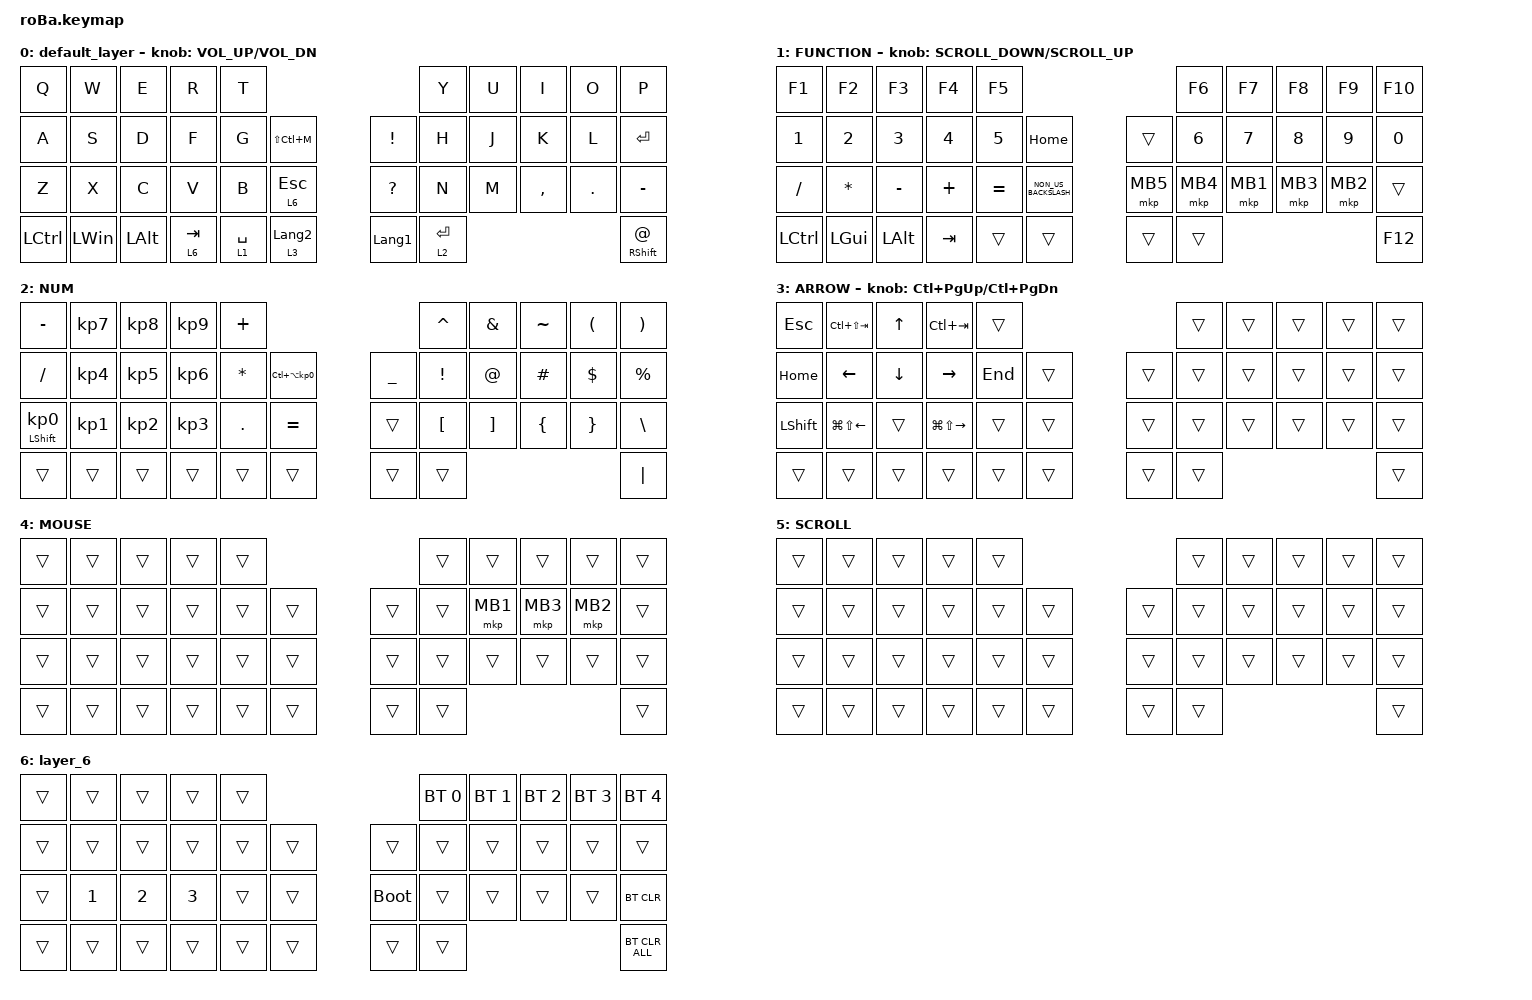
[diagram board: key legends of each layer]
#include <behaviors.dtsi>
#include <dt-bindings/zmk/bt.h>
#include <dt-bindings/zmk/keys.h>
#include <dt-bindings/zmk/pointing.h>

&mt {
    flavor = "balanced";
    quick-tap-ms = <0>;
};

&trackball {
    automouse-layer = <4>;
    scroll-layers = <5>;

    // arrows {
    //     layers = <3>;
    //     bindings =
    //         <&kp RIGHT_ARROW>,
    //         <&kp LEFT_ARROW>,
    //         <&kp UP_ARROW>,
    //         <&kp DOWN_ARROW>;
    //     tick = <10>;
    //     wait-ms = <5>;
    //     tap-ms = <5>;
    // };
};

/ {
    combos {
        compatible = "zmk,combos";

        tab {
            bindings = <&kp TAB>;
            key-positions = <11 12>;
        };

        shift_tab {
            bindings = <&kp LS(TAB)>;
            key-positions = <12 13>;
        };

        muhennkann {
            bindings = <&to_layer_0 INT_MUHENKAN>;
            key-positions = <11 10>;
        };

        double_quotation {
            bindings = <&kp DOUBLE_QUOTES>;
            key-positions = <20 21>;
        };

        eq {
            bindings = <&kp EQUAL>;
            key-positions = <24 25>;
        };
    };

    macros {
        to_layer_0: to_layer_0 {
            compatible = "zmk,behavior-macro-one-param";
            #binding-cells = <1>;
            bindings = <&to 0 &macro_param_1to1 &kp MACRO_PLACEHOLDER>;
            label = "TO_LAYER_0";
        };
    };

    behaviors {
        lt_to_layer_0: lt_to_layer_0 {
            compatible = "zmk,behavior-hold-tap";
            label = "LAYER_TAP_TO_0";
            bindings = <&mo>, <&to_layer_0>;

            #binding-cells = <2>;
            tapping-term-ms = <200>;
        };
    };

    keymap {
        compatible = "zmk,keymap";

        default_layer {
            bindings = <
&kp Q      &kp W         &kp E         &kp R                 &kp T                                                          &kp Y        &kp U  &kp I      &kp O    &kp P
&kp A      &kp S         &kp D         &kp F                 &kp G        &kp LS(LC(M))                    &kp EXCLAMATION  &kp H        &kp J  &kp K      &kp L    &kp ENTER
&kp Z      &kp X         &kp C         &kp V                 &kp B        &lt 6 ESC                        &kp QUESTION     &kp N        &kp M  &kp COMMA  &kp DOT  &kp MINUS
&kp LCTRL  &kp LEFT_WIN  &kp LEFT_ALT  &lt_to_layer_0 6 TAB  &lt 1 SPACE  &lt_to_layer_0 3 LANGUAGE_2      &kp LANGUAGE_1   &lt 2 ENTER                             &mt RIGHT_SHIFT AT
            >;

            sensor-bindings = <&inc_dec_kp C_VOLUME_UP C_VOL_DN>;
        };

        FUNCTION {
            bindings = <
&kp F1            &kp F2        &kp F3        &kp F4        &kp F5                                         &kp F6        &kp F7        &kp F8        &kp F9        &kp F10
&kp NUMBER_1      &kp NUMBER_2  &kp NUMBER_3  &kp NUMBER_4  &kp N5     &kp HOME                  &trans    &kp NUMBER_6  &kp NUMBER_7  &kp NUMBER_8  &kp NUMBER_9  &kp NUMBER_0
&kp SLASH         &kp ASTERISK  &kp MINUS     &kp PLUS      &kp EQUAL  &kp NON_US_BACKSLASH      &mkp MB5  &mkp MB4      &mkp MB1      &mkp MB3      &mkp MB2      &trans
&kp LEFT_CONTROL  &kp LEFT_GUI  &kp LEFT_ALT  &kp TAB       &trans     &trans                    &trans    &trans                                                  &kp F12
            >;

            sensor-bindings = <&inc_dec_kp K_SCROLL_DOWN K_SCROLL_UP>;
        };

        NUM {
            bindings = <
&kp MINUS                   &kp KP_NUMBER_7  &kp KP_NUMBER_8  &kp KP_NUMBER_9  &kp PLUS                                                   &kp CARET         &kp AMPERSAND      &kp TILDE       &kp LEFT_PARENTHESIS  &kp RIGHT_PARENTHESIS
&kp SLASH                   &kp KP_NUMBER_4  &kp KP_NUMBER_5  &kp KP_NUMBER_6  &kp ASTERISK  &kp LC(LA(KP_NUMBER_0))      &kp UNDERSCORE  &kp EXCLAMATION   &kp AT_SIGN        &kp HASH        &kp DOLLAR            &kp PERCENT
&mt LEFT_SHIFT KP_NUMBER_0  &kp KP_NUMBER_1  &kp KP_NUMBER_2  &kp KP_NUMBER_3  &kp PERIOD    &kp EQUAL                    &trans          &kp LEFT_BRACKET  &kp RIGHT_BRACKET  &kp LEFT_BRACE  &kp RIGHT_BRACE       &kp BACKSLASH
&trans                      &trans           &trans           &trans           &trans        &trans                       &trans          &trans                                                                     &kp PIPE
            >;
        };

        ARROW {
            bindings = <
&kp ESCAPE      &kp LC(LS(TAB))         &kp UP_ARROW    &kp LC(TAB)              &trans                       &trans  &trans  &trans  &trans  &trans
&kp HOME        &kp LEFT_ARROW          &kp DOWN_ARROW  &kp RIGHT_ARROW          &kp END  &trans      &trans  &trans  &trans  &trans  &trans  &trans
&kp LEFT_SHIFT  &kp LG(LS(LEFT_ARROW))  &trans          &kp LG(LS(RIGHT_ARROW))  &trans   &trans      &trans  &trans  &trans  &trans  &trans  &trans
&trans          &trans                  &trans          &trans                   &trans   &trans      &trans  &trans                          &trans
            >;

            sensor-bindings = <&inc_dec_kp LC(PAGE_UP) LC(PAGE_DOWN)>;
        };

        MOUSE {
            bindings = <
&trans  &trans  &trans  &trans  &trans                      &trans  &trans    &trans    &trans    &trans
&trans  &trans  &trans  &trans  &trans  &trans      &trans  &trans  &mkp MB1  &mkp MB3  &mkp MB2  &trans
&trans  &trans  &trans  &trans  &trans  &trans      &trans  &trans  &trans    &trans    &trans    &trans
&trans  &trans  &trans  &trans  &trans  &trans      &trans  &trans                                &trans
            >;
        };

        SCROLL {
            bindings = <
&trans  &trans  &trans  &trans  &trans                      &trans  &trans  &trans  &trans  &trans
&trans  &trans  &trans  &trans  &trans  &trans      &trans  &trans  &trans  &trans  &trans  &trans
&trans  &trans  &trans  &trans  &trans  &trans      &trans  &trans  &trans  &trans  &trans  &trans
&trans  &trans  &trans  &trans  &trans  &trans      &trans  &trans                          &trans
            >;
        };

        layer_6 {
            bindings = <
&trans  &trans        &trans        &trans        &trans                           &bt BT_SEL 0  &bt BT_SEL 1  &bt BT_SEL 2  &bt BT_SEL 3  &bt BT_SEL 4
&trans  &trans        &trans        &trans        &trans  &trans      &trans       &trans        &trans        &trans        &trans        &trans
&trans  &kp NUMBER_1  &kp NUMBER_2  &kp NUMBER_3  &trans  &trans      &bootloader  &trans        &trans        &trans        &trans        &bt BT_CLR
&trans  &trans        &trans        &trans        &trans  &trans      &trans       &trans                                                  &bt BT_CLR_ALL
            >;
        };
    };
};
